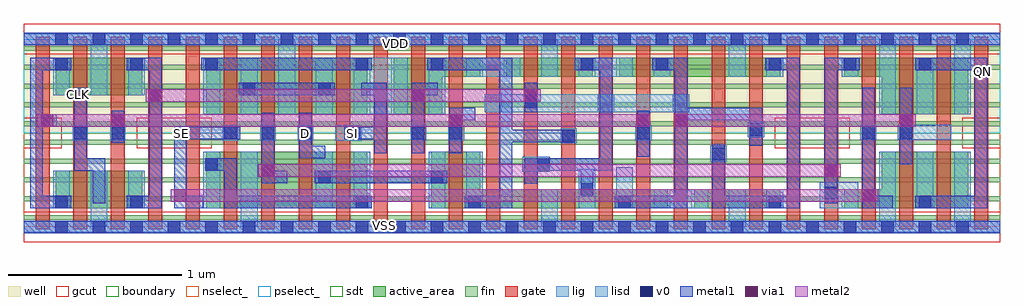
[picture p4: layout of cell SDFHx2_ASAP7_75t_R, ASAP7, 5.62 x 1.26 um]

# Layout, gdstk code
import gdstk
lib = gdstk.Library(unit=1e-6, precision=2.5e-10)
def R(c, l, rs):  # rectangles x0, y0, x1, y1
    for r in rs: c.add(gdstk.rectangle(r[:2], r[2:], *l))
def A(c, l, x, y, w, h, nx, ny, dx, dy):  # array of equal rectangles
    R(c, l, [(x+i*dx, y+j*dy, x+i*dx+w, y+j*dy+h) for i in range(nx) for j in range(ny)])
def P(c, l, *ps):  # polygons
    for p in ps: c.add(gdstk.Polygon(p, *l))
well = (1, 0)
fin = (2, 0)
gate = (7, 0)
gcut = (10, 0)
active_area = (11, 0)
nselect_ = (12, 0)
pselect_ = (13, 0)
lig = (16, 0)
lisd = (17, 0)
v0 = (18, 0)
metal1 = (19, 0)
metal2 = (20, 0)
via1 = (21, 0)
sdt = (88, 0)
boundary = (100, 0)

sdfhx2_asap7_75t_r = lib.new_cell('SDFHx2_ASAP7_75t_R')
R(sdfhx2_asap7_75t_r, well, [(0,0.54,5.616,1.08)])
A(sdfhx2_asap7_75t_r, fin, 0, 0.04, 5.616, 0.028, 1, 10, 0, 0.108)
A(sdfhx2_asap7_75t_r, gate, 0.068, -0.014, 0.08, 1.108, 25, 1, 0.216, 0)
R(sdfhx2_asap7_75t_r, gate, [(5.252,-0.014,5.332,1.094), (5.468,-0.014,5.548,1.094)])
R(sdfhx2_asap7_75t_r, gcut, [(0,-0.088,5.616,0.088), (0,0.452,0.216,0.628), (0.648,0.452,1.08,0.628), (4.32,0.452,4.752,0.628), (5.4,0.452,5.616,0.628), (0,0.992,5.616,1.168)])
R(sdfhx2_asap7_75t_r, active_area, [(0.184,0.108,0.68,0.324), (1.048,0.108,1.976,0.432), (3.856,0.108,4.352,0.216), (1.048,0.648,1.976,0.972), (0.184,0.756,0.68,0.972), (2.776,0.864,3.272,0.972), (3.424,0.864,4.352,0.972)])
P(sdfhx2_asap7_75t_r, active_area, [(2.128,0.648),(2.128,0.972),(2.624,0.972),(2.624,0.864),(2.408,0.864),(2.408,0.648)],
  [(2.344,0.108),(2.344,0.432),(2.624,0.432),(2.624,0.216),(3.704,0.216),(3.704,0.108)],
  [(4.936,0.648),(4.936,0.864),(4.72,0.864),(4.72,0.972),(5.432,0.972),(5.432,0.648)],
  [(4.72,0.108),(4.72,0.216),(4.936,0.216),(4.936,0.432),(5.432,0.432),(5.432,0.108)])
R(sdfhx2_asap7_75t_r, nselect_, [(0,0,5.616,0.54)])
R(sdfhx2_asap7_75t_r, pselect_, [(0,0.54,5.616,1.08)])
A(sdfhx2_asap7_75t_r, lig, 1.144, 0.496, 0.088, 0.088, 3, 1, 0.216, 0)
R(sdfhx2_asap7_75t_r, lig, [(0,-0.032,5.616,0.032), (2.868,0.316,3.024,0.404), (3.948,0.376,4.044,0.468), (3.088,0.48,3.18,0.568), (0.28,0.496,0.368,0.584), (0.496,0.496,0.584,0.584), (1.792,0.496,1.944,0.584), (2.44,0.496,2.532,0.584), (3.516,0.496,3.612,0.584), (2.224,0.5,2.316,0.584), (4.812,0.5,4.904,0.588), (5.028,0.5,5.336,0.588), (4.164,0.516,4.26,0.604), (2.652,0.66,2.748,0.764), (3.3,0.66,3.396,0.764), (3.732,0.66,3.828,0.764), (0,1.048,5.616,1.112)])
R(sdfhx2_asap7_75t_r, lisd, [(0.384,0,0.48,0.324), (1.248,0,1.344,0.432), (2.976,0,3.072,0.216), (4.056,0,4.152,0.216), (4.92,0,5.016,0.432), (5.352,0,5.448,0.432), (0.168,0.108,0.264,0.324), (0.6,0.108,0.696,0.324), (1.032,0.108,1.128,0.432), (1.68,0.108,1.776,0.432), (1.896,0.108,1.992,0.432), (2.328,0.108,2.424,0.432), (2.544,0.108,2.64,0.432), (3.192,0.108,3.288,0.332), (3.408,0.108,3.504,0.344), (3.624,0.108,3.936,0.216), (4.272,0.108,4.368,0.216), (4.58,0.108,4.8,0.256), (5.136,0.108,5.232,0.432), (1.032,0.648,1.128,0.972), (1.248,0.648,1.344,0.972), (1.464,0.648,1.56,1.08), (1.68,0.648,1.776,0.972), (1.896,0.648,2.208,0.972), (2.328,0.648,2.424,0.972), (4.92,0.648,5.016,1.08), (5.136,0.648,5.232,0.972), (5.352,0.648,5.448,1.08), (2.652,0.66,3.828,0.764), (0.168,0.756,0.264,0.972), (0.384,0.756,0.48,1.08), (0.6,0.756,0.696,0.972), (2.544,0.864,2.856,0.972), (2.976,0.864,3.072,1.08), (3.192,0.864,3.504,0.972), (3.624,0.864,3.72,0.972), (4.056,0.864,4.152,1.08), (4.272,0.864,4.368,0.972), (4.704,0.864,4.8,0.972)])
A(sdfhx2_asap7_75t_r, v0, 0.18, -0.036, 0.072, 0.072, 24, 2, 0.216, 1.08)
A(sdfhx2_asap7_75t_r, v0, 2.556, 0.108, 0.072, 0.072, 4, 1, 0.864, 0)
A(sdfhx2_asap7_75t_r, v0, 1.152, 0.504, 0.072, 0.072, 3, 1, 0.216, 0)
A(sdfhx2_asap7_75t_r, v0, 0.18, 0.9, 0.072, 0.072, 3, 1, 0.432, 0)
A(sdfhx2_asap7_75t_r, v0, 4.284, 0.9, 0.072, 0.072, 3, 1, 0.432, 0)
R(sdfhx2_asap7_75t_r, v0, [(5.148,-0.036,5.22,0.036), (5.364,-0.036,5.436,0.036), (0.18,0.108,0.252,0.18), (0.612,0.108,0.684,0.18), (1.908,0.108,1.98,0.18), (4.608,0.16,4.68,0.232), (3.204,0.18,3.276,0.252), (1.692,0.252,1.764,0.324), (2.34,0.252,2.412,0.324), (1.044,0.324,1.116,0.396), (2.952,0.324,3.024,0.396), (3.96,0.384,4.032,0.456), (3.096,0.488,3.168,0.56), (0.288,0.504,0.36,0.576), (0.504,0.504,0.576,0.576), (1.864,0.504,1.936,0.576), (2.232,0.504,2.304,0.576), (2.448,0.504,2.52,0.576), (3.528,0.504,3.6,0.576), (4.824,0.508,4.896,0.58), (5.04,0.508,5.112,0.58), (4.176,0.524,4.248,0.596), (2.88,0.684,2.952,0.756), (1.26,0.756,1.332,0.828), (1.692,0.756,1.764,0.828), (1.908,0.9,1.98,0.972), (2.34,0.9,2.412,0.972), (3.204,0.9,3.276,0.972), (3.636,0.9,3.708,0.972), (5.148,1.044,5.22,1.116), (5.364,1.044,5.436,1.116)])
R(sdfhx2_asap7_75t_r, metal1, [(0,-0.036,5.616,0.036), (1.672,0.252,2.436,0.324), (5.04,0.36,5.112,0.8), (3.528,0.404,3.6,0.668), (0.504,0.484,0.576,0.668), (2.88,0.66,2.952,0.828), (1.236,0.756,1.788,0.828), (1.02,0.9,2,0.972), (0,1.044,5.616,1.116)])
P(sdfhx2_asap7_75t_r, metal1, [(0.864,0.108),(0.864,0.576),(1.244,0.576),(1.244,0.504),(0.936,0.504),(0.936,0.18),(1.032,0.18),(1.032,0.108)],
  [(1.368,0.252),(1.368,0.656),(1.44,0.656),(1.44,0.324),(1.516,0.324),(1.516,0.252)],
  [(0.592,0.108),(0.592,0.18),(0.72,0.18),(0.72,0.9),(0.592,0.9),(0.592,0.972),(0.792,0.972),(0.792,0.108)],
  [(0.396,0.136),(0.396,0.324),(0.288,0.324),(0.288,0.8),(0.36,0.8),(0.36,0.396),(0.468,0.396),(0.468,0.136)],
  [(0.036,0.108),(0.036,0.972),(0.272,0.972),(0.272,0.9),(0.108,0.9),(0.108,0.648),(0.188,0.648),(0.188,0.576),(0.108,0.576),(0.108,0.18),(0.272,0.18),(0.272,0.108)],
  [(1.584,0.396),(1.584,0.656),(1.656,0.656),(1.656,0.468),(1.732,0.468),(1.732,0.396)],
  [(2.016,0.424),(2.016,0.504),(1.844,0.504),(1.844,0.576),(2.016,0.576),(2.016,0.756),(1.94,0.756),(1.94,0.828),(2.088,0.828),(2.088,0.424)],
  [(1.152,0.108),(1.152,0.324),(1.044,0.324),(1.044,0.396),(1.224,0.396),(1.224,0.18),(2,0.18),(2,0.108)],
  [(2.232,0.424),(2.232,0.828),(2.38,0.828),(2.38,0.756),(2.304,0.756),(2.304,0.424)],
  [(2.448,0.424),(2.448,0.684),(2.596,0.684),(2.596,0.612),(2.52,0.612),(2.52,0.424)],
  [(2.536,0.108),(2.536,0.18),(2.736,0.18),(2.736,0.9),(2.32,0.9),(2.32,0.972),(2.808,0.972),(2.808,0.56),(3.168,0.56),(3.168,0.488),(2.808,0.488),(2.808,0.108)],
  [(3.204,0.18),(3.204,0.324),(2.952,0.324),(2.952,0.248),(2.88,0.248),(2.88,0.396),(3.312,0.396),(3.312,0.9),(3.168,0.9),(3.168,0.972),(3.384,0.972),(3.384,0.324),(3.276,0.324),(3.276,0.18)],
  [(3.4,0.108),(3.4,0.18),(3.744,0.18),(3.744,0.9),(3.616,0.9),(3.616,0.972),(3.816,0.972),(3.816,0.684),(4.248,0.684),(4.248,0.468),(4.176,0.468),(4.176,0.612),(3.816,0.612),(3.816,0.108)],
  [(3.96,0.108),(3.96,0.476),(4.032,0.476),(4.032,0.18),(4.392,0.18),(4.392,0.9),(4.264,0.9),(4.264,0.972),(4.464,0.972),(4.464,0.108)],
  [(4.824,0.108),(4.824,0.8),(4.896,0.8),(4.896,0.18),(5,0.18),(5,0.108)],
  [(4.608,0.136),(4.608,0.972),(4.808,0.972),(4.808,0.9),(4.68,0.9),(4.68,0.136)],
  [(5.128,0.108),(5.128,0.18),(5.472,0.18),(5.472,0.9),(5.128,0.9),(5.128,0.972),(5.544,0.972),(5.544,0.108)])
R(sdfhx2_asap7_75t_r, metal2, [(0.844,0.144,4.916,0.216), (1.348,0.288,4.7,0.36), (0.076,0.576,3.6,0.648), (3.744,0.576,5.132,0.648), (0.7,0.72,2.972,0.792)])
R(sdfhx2_asap7_75t_r, via1, [(0.864,0.144,0.936,0.216), (4.824,0.144,4.896,0.216), (1.368,0.288,1.44,0.36), (4.608,0.288,4.68,0.36), (0.096,0.576,0.168,0.648), (0.504,0.576,0.576,0.648), (2.448,0.576,2.52,0.648), (3.528,0.576,3.6,0.648), (3.744,0.576,3.816,0.648), (5.04,0.576,5.112,0.648), (0.72,0.72,0.792,0.792), (2.232,0.72,2.304,0.792), (2.88,0.72,2.952,0.792)])
A(sdfhx2_asap7_75t_r, sdt, 0.168, 0.108, 0.096, 0.216, 3, 2, 0.216, 0.648)
A(sdfhx2_asap7_75t_r, sdt, 2.976, 0.108, 0.096, 0.108, 7, 1, 0.216, 0)
A(sdfhx2_asap7_75t_r, sdt, 4.92, 0.108, 0.096, 0.324, 3, 2, 0.216, 0.54)
A(sdfhx2_asap7_75t_r, sdt, 1.032, 0.648, 0.096, 0.324, 7, 1, 0.216, 0)
A(sdfhx2_asap7_75t_r, sdt, 2.544, 0.864, 0.096, 0.108, 6, 1, 0.216, 0)
R(sdfhx2_asap7_75t_r, sdt, [(1.032,0.108,1.128,0.432), (1.248,0.108,1.344,0.432), (1.68,0.108,1.776,0.432), (1.896,0.108,1.992,0.432), (2.328,0.108,2.424,0.432), (2.544,0.108,2.64,0.432), (4.704,0.108,4.8,0.216), (4.056,0.864,4.152,0.972), (4.272,0.864,4.368,0.972), (4.704,0.864,4.8,0.972)])
R(sdfhx2_asap7_75t_r, boundary, [(0,0,5.616,1.08)])
sdfhx2_asap7_75t_r.add(gdstk.Label('CLK', (0.312,0.76), layer=19, texttype=251))
sdfhx2_asap7_75t_r.add(gdstk.Label('D', (1.62,0.536), layer=19, texttype=251))
sdfhx2_asap7_75t_r.add(gdstk.Label('SE', (0.908,0.536), layer=19, texttype=251))
sdfhx2_asap7_75t_r.add(gdstk.Label('VSS', (2.072,0.008), layer=19, texttype=251))
sdfhx2_asap7_75t_r.add(gdstk.Label('SI', (1.892,0.54), layer=19, texttype=251))
sdfhx2_asap7_75t_r.add(gdstk.Label('VDD', (2.136,1.056), layer=19, texttype=251))
sdfhx2_asap7_75t_r.add(gdstk.Label('QN', (5.516,0.892), layer=19, texttype=251))
sdfhx2_asap7_75t_r.add(gdstk.Label('VDD', (5.484,0.828), layer=1, texttype=251))
sdfhx2_asap7_75t_r.add(gdstk.Label('VSS', (5.76,0.824), layer=3, texttype=251))

lib.write_gds('SDFHx2_ASAP7_75t_R.gds')
